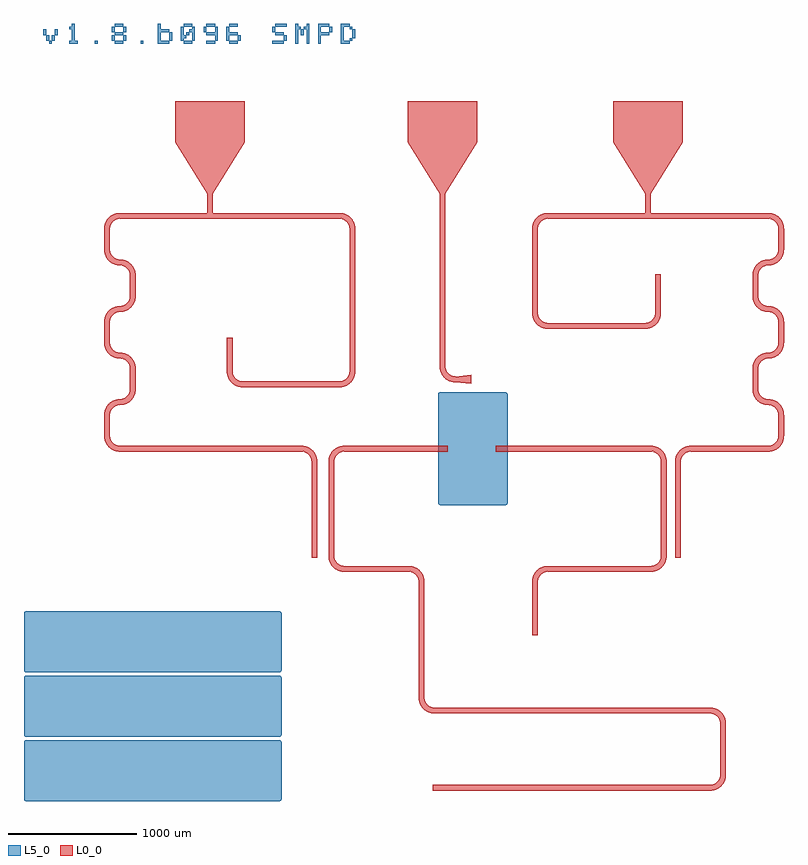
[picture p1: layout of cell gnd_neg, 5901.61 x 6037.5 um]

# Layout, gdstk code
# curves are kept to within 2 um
import gdstk
lib = gdstk.Library(unit=1e-6, precision=1e-09)
def R(c, l, rs):  # rectangles x0, y0, x1, y1
    for r in rs: c.add(gdstk.rectangle(r[:2], r[2:], *l))
def A(c, l, x, y, w, h, nx, ny, dx, dy):  # array of equal rectangles
    R(c, l, [(x+i*dx, y+j*dy, x+i*dx+w, y+j*dy+h) for i in range(nx) for j in range(ny)])
def P(c, l, *ps):  # polygons
    for p in ps: c.add(gdstk.Polygon(p, *l))
L0_0 = (0, 0)
L5_0 = (5, 0)

gnd_neg = lib.new_cell('gnd_neg')
A(gnd_neg, L0_0, 872.888, 3600, 44, 161.6, 1, 3, 0, 723.2)
A(gnd_neg, L0_0, 6107.612, 3600, 44, 161.6, 1, 3, 0, 723.2)
R(gnd_neg, L0_0, [(3424.9,845,3436.9,889), (3436.9,845,5578.361,889), (5656.361,967,5700.361,1367), (3436.9,1445,5578.361,1489), (3314.9,1567,3358.9,2467), (4196.1,2051.239,4240.1,2467), (2736.9,2545,3236.9,2589), (4318.1,2545,5118.1,2589), (2482.9,2655,2526.9,3400), (5306.1,2655,5350.1,3400), (2614.9,2667,2658.9,3400), (5196.1,2667,5240.1,3400), (994.888,3478,2404.9,3522), (2736.9,3478,3539.9,3522), (3915.1,3478,5118.1,3522), (5428.1,3478,6029.612,3522), (1072.888,3961.6,1116.888,4123.2), (5907.612,3961.6,5951.612,4123.2), (1947.444,3978,2700,4022), (1825.444,4100,1869.444,4349.205), (2778,4100,2822,5208), (3478,4138.8,3522,5480), (1825.444,4349.205,1869.444,4361.205), (4318.1,4432,5073.856,4476), (4196.1,4554,4240.1,5208), (5151.856,4554,5195.856,4841.105), (1072.888,4684.8,1116.888,4846.4), (5907.612,4684.8,5951.612,4846.4), (5151.856,4841.105,5195.856,4853.105), (994.888,5286,1695,5330), (1695,5286,2700,5330), (4318.1,5286,5095,5330), (5095,5286,6029.612,5330), (1673,5308,1717,5480), (5073,5308,5117,5480), (1425,5880,1965,6200), (3230,5880,3770,6200), (4825,5880,5365,6200)])
P(gnd_neg, L0_0, [(3478,5480),(3230,5880),(3770,5880),(3522,5480)],
  [(3600,4016.8),(3578.128,4018.777),(3554.039,4025.788),(3531.894,4037.579),(3514.851,4051.429),(3498.779,4070.694),(3486.988,4092.839),(3479.977,4116.928),(3478,4138.8),(3522,4138.8),(3527.747,4109.415),(3544.14,4084.36),(3568.765,4067.327),(3600,4060.8)],
  [(3724,4004.8),(3600,4016.8),(3600,4060.8),(3724,4072.8)],
  [(2614.9,3400),(2616.877,3421.872),(2623.888,3445.961),(2635.679,3468.106),(2649.529,3485.149),(2668.794,3501.221),(2690.939,3513.012),(2715.028,3520.023),(2736.9,3522),(2736.9,3478),(2707.515,3472.253),(2682.46,3455.86),(2665.427,3431.235),(2658.9,3400)],
  [(2736.9,2545),(2715.028,2546.977),(2690.939,2553.988),(2668.794,2565.779),(2651.751,2579.629),(2635.679,2598.894),(2623.888,2621.039),(2616.877,2645.128),(2614.9,2667),(2658.9,2667),(2664.647,2637.615),(2681.04,2612.56),(2705.665,2595.527),(2736.9,2589)],
  [(3314.9,2467),(3309.153,2496.385),(3292.76,2521.44),(3268.135,2538.473),(3236.9,2545),(3236.9,2589),(3267.97,2584.977),(3296.991,2573.175),(3322.049,2554.371),(3339.841,2532.477),(3354.038,2501.097),(3358.9,2467)],
  [(3436.9,1445),(3415.028,1446.977),(3390.939,1453.988),(3368.794,1465.779),(3351.751,1479.629),(3335.679,1498.894),(3323.888,1521.039),(3316.877,1545.128),(3314.9,1567),(3358.9,1567),(3364.647,1537.615),(3381.04,1512.56),(3405.665,1495.527),(3436.9,1489)],
  [(5656.361,1367),(5650.614,1396.385),(5634.221,1421.44),(5609.597,1438.473),(5578.361,1445),(5578.361,1489),(5609.431,1484.977),(5638.452,1473.175),(5663.51,1454.371),(5681.302,1432.477),(5695.499,1401.097),(5700.361,1367)],
  [(5578.361,845),(5578.361,889),(5607.746,894.747),(5632.801,911.14),(5649.834,935.765),(5656.361,967),(5700.361,967),(5698.384,945.128),(5691.373,921.039),(5679.582,898.894),(5665.732,881.851),(5646.467,865.779),(5624.322,853.988),(5600.233,846.977)],
  [(1673,5480),(1425,5880),(1965,5880),(1717,5480)],
  [(2482.9,3400),(2477.153,3429.385),(2460.76,3454.44),(2436.135,3471.473),(2404.9,3478),(2404.9,3522),(2435.97,3517.977),(2464.991,3506.175),(2490.049,3487.371),(2507.841,3465.477),(2522.038,3434.097),(2526.9,3400)],
  [(994.888,3478),(973.016,3479.977),(948.927,3486.988),(926.782,3498.779),(909.739,3512.629),(893.667,3531.894),(881.876,3554.039),(874.865,3578.128),(872.888,3600),(916.888,3600),(922.635,3570.615),(939.028,3545.56),(963.653,3528.527),(994.888,3522)],
  [(872.888,3761.6),(874.865,3783.472),(881.876,3807.561),(893.667,3829.706),(907.517,3846.749),(926.782,3862.821),(948.927,3874.612),(973.016,3881.623),(994.888,3883.6),(994.888,3839.6),(965.503,3833.853),(940.448,3817.46),(923.415,3792.835),(916.888,3761.6)],
  [(994.888,3839.6),(994.888,3883.6),(1024.273,3889.347),(1049.328,3905.74),(1066.361,3930.365),(1072.888,3961.6),(1116.888,3961.6),(1114.911,3939.728),(1107.9,3915.639),(1096.109,3893.494),(1082.259,3876.451),(1062.994,3860.379),(1040.849,3848.588),(1016.76,3841.577)],
  [(1072.888,4123.2),(1067.141,4152.585),(1050.748,4177.64),(1026.123,4194.673),(994.888,4201.2),(994.888,4245.2),(1025.958,4241.177),(1054.979,4229.375),(1080.037,4210.571),(1097.829,4188.677),(1112.026,4157.297),(1116.888,4123.2)],
  [(994.888,4201.2),(973.016,4203.177),(948.927,4210.188),(926.782,4221.979),(909.739,4235.829),(893.667,4255.094),(881.876,4277.239),(874.865,4301.328),(872.888,4323.2),(916.888,4323.2),(922.635,4293.815),(939.028,4268.76),(963.653,4251.727),(994.888,4245.2)],
  [(872.888,4484.8),(874.865,4506.672),(881.876,4530.761),(893.667,4552.906),(907.517,4569.949),(926.782,4586.021),(948.927,4597.812),(973.016,4604.823),(994.888,4606.8),(994.888,4562.8),(965.503,4557.053),(940.448,4540.66),(923.415,4516.035),(916.888,4484.8)],
  [(994.888,4562.8),(994.888,4606.8),(1024.273,4612.547),(1049.328,4628.94),(1066.361,4653.565),(1072.888,4684.8),(1116.888,4684.8),(1114.911,4662.928),(1107.9,4638.839),(1096.109,4616.694),(1082.259,4599.651),(1062.994,4583.579),(1040.849,4571.788),(1016.76,4564.777)],
  [(1072.888,4846.4),(1067.141,4875.785),(1050.748,4900.84),(1026.123,4917.873),(994.888,4924.4),(994.888,4968.4),(1025.958,4964.377),(1054.979,4952.575),(1080.037,4933.771),(1097.829,4911.877),(1112.026,4880.497),(1116.888,4846.4)],
  [(994.888,4924.4),(973.016,4926.377),(948.927,4933.388),(926.782,4945.179),(909.739,4959.029),(893.667,4978.294),(881.876,5000.439),(874.865,5024.528),(872.888,5046.4),(916.888,5046.4),(922.635,5017.015),(939.028,4991.96),(963.653,4974.927),(994.888,4968.4)],
  [(872.888,5208),(874.865,5229.872),(881.876,5253.961),(893.667,5276.106),(907.517,5293.149),(926.782,5309.221),(948.927,5321.012),(973.016,5328.023),(994.888,5330),(994.888,5286),(965.503,5280.253),(940.448,5263.86),(923.415,5239.235),(916.888,5208)],
  [(2778,5208),(2772.253,5237.385),(2755.86,5262.44),(2731.235,5279.473),(2700,5286),(2700,5330),(2731.07,5325.977),(2760.091,5314.175),(2785.149,5295.371),(2802.941,5273.477),(2817.138,5242.097),(2822,5208)],
  [(2700,3978),(2700,4022),(2729.385,4027.747),(2754.44,4044.14),(2771.473,4068.765),(2778,4100),(2822,4100),(2820.023,4078.128),(2813.012,4054.039),(2801.221,4031.894),(2787.371,4014.851),(2768.106,3998.779),(2745.961,3986.988),(2721.872,3979.977)],
  [(1947.444,3978),(1925.572,3979.977),(1901.483,3986.988),(1879.338,3998.779),(1862.295,4012.629),(1846.223,4031.894),(1834.432,4054.039),(1827.421,4078.128),(1825.444,4100),(1869.444,4100),(1875.191,4070.615),(1891.584,4045.56),(1916.209,4028.527),(1947.444,4022)],
  [(5196.1,3400),(5190.353,3429.385),(5173.96,3454.44),(5149.335,3471.473),(5118.1,3478),(5118.1,3522),(5149.17,3517.977),(5178.191,3506.175),(5203.249,3487.371),(5221.041,3465.477),(5235.238,3434.097),(5240.1,3400)],
  [(5118.1,2545),(5118.1,2589),(5147.485,2594.747),(5172.54,2611.14),(5189.573,2635.765),(5196.1,2667),(5240.1,2667),(5238.123,2645.128),(5231.112,2621.039),(5219.321,2598.894),(5205.471,2581.851),(5186.206,2565.779),(5164.061,2553.988),(5139.972,2546.977)],
  [(4196.1,2467),(4198.077,2488.872),(4205.088,2512.961),(4216.879,2535.106),(4230.729,2552.149),(4249.994,2568.221),(4272.139,2580.012),(4296.228,2587.023),(4318.1,2589),(4318.1,2545),(4288.715,2539.253),(4263.66,2522.86),(4246.627,2498.235),(4240.1,2467)],
  [(5073,5480),(4825,5880),(5365,5880),(5117,5480)],
  [(5306.1,3400),(5308.077,3421.872),(5315.088,3445.961),(5326.879,3468.106),(5340.729,3485.149),(5359.994,3501.221),(5382.139,3513.012),(5406.228,3520.023),(5428.1,3522),(5428.1,3478),(5398.715,3472.253),(5373.66,3455.86),(5356.627,3431.235),(5350.1,3400)],
  [(6029.612,3478),(6029.612,3522),(6058.997,3527.747),(6084.052,3544.14),(6101.085,3568.765),(6107.612,3600),(6151.612,3600),(6149.635,3578.128),(6142.624,3554.039),(6130.833,3531.894),(6116.983,3514.851),(6097.718,3498.779),(6075.573,3486.988),(6051.484,3479.977)],
  [(6107.612,3761.6),(6101.865,3790.985),(6085.472,3816.04),(6060.847,3833.073),(6029.612,3839.6),(6029.612,3883.6),(6060.682,3879.577),(6089.703,3867.775),(6114.761,3848.971),(6132.553,3827.077),(6146.75,3795.697),(6151.612,3761.6)],
  [(6029.612,3839.6),(6007.74,3841.577),(5983.651,3848.588),(5961.506,3860.379),(5944.463,3874.229),(5928.391,3893.494),(5916.6,3915.639),(5909.589,3939.728),(5907.612,3961.6),(5951.612,3961.6),(5957.359,3932.215),(5973.752,3907.16),(5998.377,3890.127),(6029.612,3883.6)],
  [(5907.612,4123.2),(5909.589,4145.072),(5916.6,4169.161),(5928.391,4191.306),(5942.241,4208.349),(5961.506,4224.421),(5983.651,4236.212),(6007.74,4243.223),(6029.612,4245.2),(6029.612,4201.2),(6000.227,4195.453),(5975.172,4179.06),(5958.139,4154.435),(5951.612,4123.2)],
  [(6029.612,4201.2),(6029.612,4245.2),(6058.997,4250.947),(6084.052,4267.34),(6101.085,4291.965),(6107.612,4323.2),(6151.612,4323.2),(6149.635,4301.328),(6142.624,4277.239),(6130.833,4255.094),(6116.983,4238.051),(6097.718,4221.979),(6075.573,4210.188),(6051.484,4203.177)],
  [(6107.612,4484.8),(6101.865,4514.185),(6085.472,4539.24),(6060.847,4556.273),(6029.612,4562.8),(6029.612,4606.8),(6060.682,4602.777),(6089.703,4590.975),(6114.761,4572.171),(6132.553,4550.277),(6146.75,4518.897),(6151.612,4484.8)],
  [(6029.612,4562.8),(6007.74,4564.777),(5983.651,4571.788),(5961.506,4583.579),(5944.463,4597.429),(5928.391,4616.694),(5916.6,4638.839),(5909.589,4662.928),(5907.612,4684.8),(5951.612,4684.8),(5957.359,4655.415),(5973.752,4630.36),(5998.377,4613.327),(6029.612,4606.8)],
  [(5907.612,4846.4),(5909.589,4868.272),(5916.6,4892.361),(5928.391,4914.506),(5942.241,4931.549),(5961.506,4947.621),(5983.651,4959.412),(6007.74,4966.423),(6029.612,4968.4),(6029.612,4924.4),(6000.227,4918.653),(5975.172,4902.26),(5958.139,4877.635),(5951.612,4846.4)],
  [(6029.612,4924.4),(6029.612,4968.4),(6058.997,4974.147),(6084.052,4990.54),(6101.085,5015.165),(6107.612,5046.4),(6151.612,5046.4),(6149.635,5024.528),(6142.624,5000.439),(6130.833,4978.294),(6116.983,4961.251),(6097.718,4945.179),(6075.573,4933.388),(6051.484,4926.377)],
  [(6107.612,5208),(6101.865,5237.385),(6085.472,5262.44),(6060.847,5279.473),(6029.612,5286),(6029.612,5330),(6060.682,5325.977),(6089.703,5314.175),(6114.761,5295.371),(6132.553,5273.477),(6146.75,5242.097),(6151.612,5208)],
  [(4196.1,5208),(4198.077,5229.872),(4205.088,5253.961),(4216.879,5276.106),(4230.729,5293.149),(4249.994,5309.221),(4272.139,5321.012),(4296.228,5328.023),(4318.1,5330),(4318.1,5286),(4288.715,5280.253),(4263.66,5263.86),(4246.627,5239.235),(4240.1,5208)],
  [(4318.1,4432),(4296.228,4433.977),(4272.139,4440.988),(4249.994,4452.779),(4232.951,4466.629),(4216.879,4485.894),(4205.088,4508.039),(4198.077,4532.128),(4196.1,4554),(4240.1,4554),(4245.847,4524.615),(4262.24,4499.56),(4286.865,4482.527),(4318.1,4476)],
  [(5073.856,4432),(5073.856,4476),(5103.241,4481.747),(5128.296,4498.14),(5145.329,4522.765),(5151.856,4554),(5195.856,4554),(5193.879,4532.128),(5186.868,4508.039),(5175.077,4485.894),(5161.227,4468.851),(5141.962,4452.779),(5119.817,4440.988),(5095.728,4433.977)],
  [(2700,5286),(2700,5330),(2700,5330),(2700,5286)])
R(gnd_neg, L5_0, [(444.444,6644.444,466.667,6666.667), (800,6644.444,822.222,6666.667), (1155.556,6644.444,1177.778,6666.667), (2777.778,6666.667,2800,6688.889), (1511.111,6711.111,1533.333,6733.333), (2777.778,6755.556,2800,6777.778)])
P(gnd_neg, L5_0, [(3485,3062.5),(3471.221,3068.004),(3465,3082.5),(3465,3917.5),(3467.513,3927.206),(3475.294,3934.987),(3485,3937.5),(3985,3937.5),(3994.706,3934.987),(4002.487,3927.206),(4005,3917.5),(4005,3082.5),(4002.487,3072.794),(3994.706,3065.013),(3985,3062.5)],
  [(270,762.5),(256.221,768.004),(250,782.5),(250.026,1218.513),(254.184,1229.742),(264.987,1236.862),(2230,1237.5),(2242.242,1233.316),(2249.362,1222.513),(2249.974,781.487),(2245.816,770.258),(2235.013,763.138)],
  [(270,1262.5),(256.221,1268.004),(250,1282.5),(250.026,1718.513),(254.184,1729.742),(264.987,1736.862),(2230,1737.5),(2242.242,1733.316),(2249.362,1722.513),(2249.974,1281.487),(2245.816,1270.258),(2235.013,1263.138)],
  [(270,1762.5),(256.221,1768.004),(250,1782.5),(250.026,2218.513),(254.184,2229.742),(264.987,2236.862),(2230,2237.5),(2242.242,2233.316),(2249.362,2222.513),(2249.974,1781.487),(2245.816,1770.258),(2235.013,1763.138)],
  [(400,6711.111),(400,6733.333),(400,6755.556),(422.222,6755.556),(422.222,6733.333),(422.222,6711.111)],
  [(422.222,6666.667),(422.222,6688.889),(422.222,6711.111),(444.444,6711.111),(444.444,6688.889),(444.444,6666.667)],
  [(466.667,6666.667),(466.667,6688.889),(466.667,6711.111),(488.889,6711.111),(488.889,6688.889),(488.889,6666.667)],
  [(488.889,6711.111),(488.889,6733.333),(488.889,6755.556),(511.111,6755.556),(511.111,6733.333),(511.111,6711.111)],
  [(600,6644.444),(600,6666.667),(622.222,6666.667),(622.222,6688.889),(622.222,6711.111),(622.222,6733.333),(622.222,6755.556),(600,6755.556),(600,6777.778),(622.222,6777.778),(622.222,6800),(644.444,6800),(644.444,6777.778),(644.444,6755.556),(644.444,6733.333),(644.444,6711.111),(644.444,6688.889),(644.444,6666.667),(666.667,6666.667),(666.667,6644.444),(644.444,6644.444),(622.222,6644.444)],
  [(933.333,6666.667),(933.333,6688.889),(933.333,6711.111),(955.556,6711.111),(955.556,6688.889),(955.556,6666.667)],
  [(933.333,6733.333),(933.333,6755.556),(933.333,6777.778),(955.556,6777.778),(955.556,6755.556),(955.556,6733.333)],
  [(955.556,6644.444),(955.556,6666.667),(977.778,6666.667),(1000,6666.667),(1022.222,6666.667),(1022.222,6644.444),(1000,6644.444),(977.778,6644.444)],
  [(955.556,6711.111),(955.556,6733.333),(977.778,6733.333),(1000,6733.333),(1022.222,6733.333),(1022.222,6711.111),(1000,6711.111),(977.778,6711.111)],
  [(955.556,6777.778),(955.556,6800),(977.778,6800),(1000,6800),(1022.222,6800),(1022.222,6777.778),(1000,6777.778),(977.778,6777.778)],
  [(1022.222,6666.667),(1022.222,6688.889),(1022.222,6711.111),(1044.444,6711.111),(1044.444,6688.889),(1044.444,6666.667)],
  [(1022.222,6733.333),(1022.222,6755.556),(1022.222,6777.778),(1044.444,6777.778),(1044.444,6755.556),(1044.444,6733.333)],
  [(1288.889,6644.444),(1288.889,6666.667),(1288.889,6688.889),(1288.889,6711.111),(1288.889,6733.333),(1288.889,6755.556),(1288.889,6777.778),(1288.889,6800),(1311.111,6800),(1311.111,6777.778),(1311.111,6755.556),(1333.333,6755.556),(1355.556,6755.556),(1377.778,6755.556),(1377.778,6733.333),(1355.556,6733.333),(1333.333,6733.333),(1311.111,6733.333),(1311.111,6711.111),(1311.111,6688.889),(1311.111,6666.667),(1333.333,6666.667),(1355.556,6666.667),(1377.778,6666.667),(1377.778,6644.444),(1355.556,6644.444),(1333.333,6644.444),(1311.111,6644.444)],
  [(1377.778,6666.667),(1377.778,6688.889),(1377.778,6711.111),(1377.778,6733.333),(1400,6733.333),(1400,6711.111),(1400,6688.889),(1400,6666.667)],
  [(1466.667,6666.667),(1466.667,6688.889),(1466.667,6711.111),(1466.667,6733.333),(1466.667,6755.556),(1466.667,6777.778),(1488.889,6777.778),(1488.889,6755.556),(1488.889,6733.333),(1488.889,6711.111),(1511.111,6711.111),(1511.111,6688.889),(1488.889,6688.889),(1488.889,6666.667)],
  [(1488.889,6644.444),(1488.889,6666.667),(1511.111,6666.667),(1533.333,6666.667),(1555.556,6666.667),(1555.556,6644.444),(1533.333,6644.444),(1511.111,6644.444)],
  [(1488.889,6777.778),(1488.889,6800),(1511.111,6800),(1533.333,6800),(1555.556,6800),(1555.556,6777.778),(1533.333,6777.778),(1511.111,6777.778)],
  [(1555.556,6666.667),(1555.556,6688.889),(1555.556,6711.111),(1555.556,6733.333),(1533.333,6733.333),(1533.333,6755.556),(1555.556,6755.556),(1555.556,6777.778),(1577.778,6777.778),(1577.778,6755.556),(1577.778,6733.333),(1577.778,6711.111),(1577.778,6688.889),(1577.778,6666.667)],
  [(1644.444,6733.333),(1644.444,6755.556),(1644.444,6777.778),(1666.667,6777.778),(1666.667,6755.556),(1666.667,6733.333)],
  [(1666.667,6644.444),(1666.667,6666.667),(1688.889,6666.667),(1711.111,6666.667),(1733.333,6666.667),(1733.333,6644.444),(1711.111,6644.444),(1688.889,6644.444)],
  [(1733.333,6666.667),(1733.333,6688.889),(1733.333,6711.111),(1711.111,6711.111),(1688.889,6711.111),(1666.667,6711.111),(1666.667,6733.333),(1688.889,6733.333),(1711.111,6733.333),(1733.333,6733.333),(1733.333,6755.556),(1733.333,6777.778),(1755.556,6777.778),(1755.556,6755.556),(1755.556,6733.333),(1755.556,6711.111),(1755.556,6688.889),(1755.556,6666.667)],
  [(1666.667,6777.778),(1666.667,6800),(1688.889,6800),(1711.111,6800),(1733.333,6800),(1733.333,6777.778),(1711.111,6777.778),(1688.889,6777.778)],
  [(1822.222,6666.667),(1822.222,6688.889),(1822.222,6711.111),(1822.222,6733.333),(1822.222,6755.556),(1822.222,6777.778),(1844.444,6777.778),(1844.444,6755.556),(1844.444,6733.333),(1866.667,6733.333),(1888.889,6733.333),(1911.111,6733.333),(1911.111,6711.111),(1888.889,6711.111),(1866.667,6711.111),(1844.444,6711.111),(1844.444,6688.889),(1844.444,6666.667)],
  [(1844.444,6644.444),(1844.444,6666.667),(1866.667,6666.667),(1888.889,6666.667),(1911.111,6666.667),(1911.111,6644.444),(1888.889,6644.444),(1866.667,6644.444)],
  [(1844.444,6777.778),(1844.444,6800),(1866.667,6800),(1888.889,6800),(1911.111,6800),(1911.111,6777.778),(1888.889,6777.778),(1866.667,6777.778)],
  [(1911.111,6666.667),(1911.111,6688.889),(1911.111,6711.111),(1933.333,6711.111),(1933.333,6688.889),(1933.333,6666.667)],
  [(2177.778,6644.444),(2177.778,6666.667),(2200,6666.667),(2222.222,6666.667),(2244.444,6666.667),(2266.667,6666.667),(2266.667,6644.444),(2244.444,6644.444),(2222.222,6644.444),(2200,6644.444)],
  [(2177.778,6733.333),(2177.778,6755.556),(2177.778,6777.778),(2200,6777.778),(2200,6755.556),(2200,6733.333)],
  [(2200,6711.111),(2200,6733.333),(2222.222,6733.333),(2244.444,6733.333),(2266.667,6733.333),(2266.667,6711.111),(2244.444,6711.111),(2222.222,6711.111)],
  [(2200,6777.778),(2200,6800),(2222.222,6800),(2244.444,6800),(2266.667,6800),(2288.889,6800),(2288.889,6777.778),(2266.667,6777.778),(2244.444,6777.778),(2222.222,6777.778)],
  [(2266.667,6666.667),(2266.667,6688.889),(2266.667,6711.111),(2288.889,6711.111),(2288.889,6688.889),(2288.889,6666.667)],
  [(2355.556,6644.444),(2355.556,6666.667),(2355.556,6688.889),(2355.556,6711.111),(2355.556,6733.333),(2355.556,6755.556),(2355.556,6777.778),(2355.556,6800),(2377.778,6800),(2377.778,6777.778),(2400,6777.778),(2400,6755.556),(2377.778,6755.556),(2377.778,6733.333),(2377.778,6711.111),(2377.778,6688.889),(2377.778,6666.667),(2377.778,6644.444)],
  [(2400,6711.111),(2400,6733.333),(2400,6755.556),(2422.222,6755.556),(2422.222,6733.333),(2422.222,6711.111)],
  [(2444.444,6644.444),(2444.444,6666.667),(2444.444,6688.889),(2444.444,6711.111),(2444.444,6733.333),(2444.444,6755.556),(2422.222,6755.556),(2422.222,6777.778),(2444.444,6777.778),(2444.444,6800),(2466.667,6800),(2466.667,6777.778),(2466.667,6755.556),(2466.667,6733.333),(2466.667,6711.111),(2466.667,6688.889),(2466.667,6666.667),(2466.667,6644.444)],
  [(2533.333,6644.444),(2533.333,6666.667),(2533.333,6688.889),(2533.333,6711.111),(2533.333,6733.333),(2533.333,6755.556),(2533.333,6777.778),(2533.333,6800),(2555.556,6800),(2577.778,6800),(2600,6800),(2622.222,6800),(2622.222,6777.778),(2600,6777.778),(2577.778,6777.778),(2555.556,6777.778),(2555.556,6755.556),(2555.556,6733.333),(2577.778,6733.333),(2600,6733.333),(2622.222,6733.333),(2622.222,6711.111),(2600,6711.111),(2577.778,6711.111),(2555.556,6711.111),(2555.556,6688.889),(2555.556,6666.667),(2555.556,6644.444)],
  [(2622.222,6733.333),(2622.222,6755.556),(2622.222,6777.778),(2644.444,6777.778),(2644.444,6755.556),(2644.444,6733.333)],
  [(2711.111,6644.444),(2711.111,6666.667),(2711.111,6688.889),(2711.111,6711.111),(2711.111,6733.333),(2711.111,6755.556),(2711.111,6777.778),(2711.111,6800),(2733.333,6800),(2755.556,6800),(2777.778,6800),(2777.778,6777.778),(2755.556,6777.778),(2733.333,6777.778),(2733.333,6755.556),(2733.333,6733.333),(2733.333,6711.111),(2733.333,6688.889),(2733.333,6666.667),(2755.556,6666.667),(2777.778,6666.667),(2777.778,6644.444),(2755.556,6644.444),(2733.333,6644.444)],
  [(2800,6688.889),(2800,6711.111),(2800,6733.333),(2800,6755.556),(2822.222,6755.556),(2822.222,6733.333),(2822.222,6711.111),(2822.222,6688.889)])

lib.write_gds('gnd_neg.gds')
